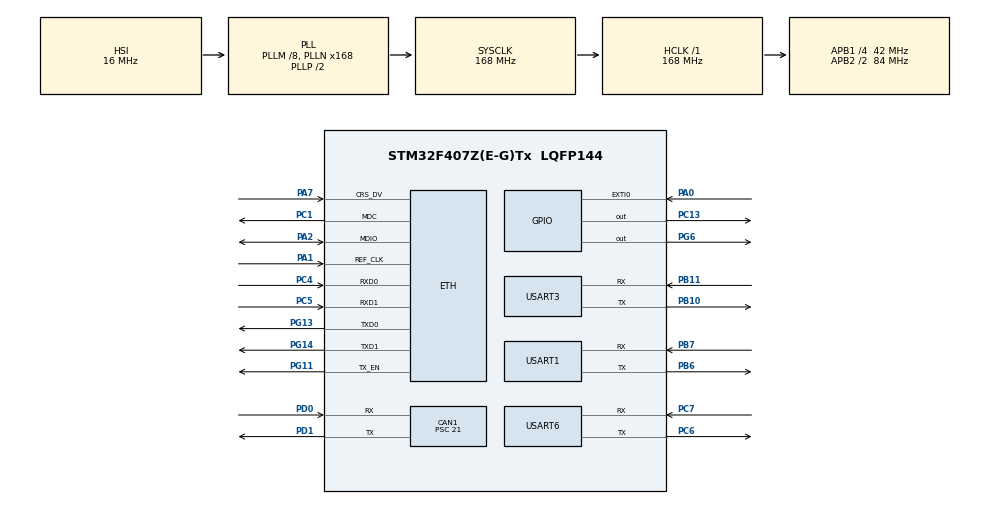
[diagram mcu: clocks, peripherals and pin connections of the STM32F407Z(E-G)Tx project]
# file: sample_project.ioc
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Mcu.Family=STM32F4
NVIC.USART3_IRQn=true\:5\:0\:false\:false\:true\:true\:true\:true
PA2.GPIO_PuPd=GPIO_PULLUP
PH0-OSC_IN.Signal=RCC_OSC_IN
Dma.USART3_RX.0.PeriphInc=DMA_PINC_DISABLE
RCC.CortexFreq_Value=168000000
PG6.Signal=GPIO_Output
PB10.Mode=Asynchronous
Dma.USART3_TX.1.MemInc=DMA_MINC_ENABLE
LWIP.LWIP_SO_RCVTIMEO=1
Dma.USART3_TX.1.PeriphDataAlignment=DMA_PDATAALIGN_BYTE
Dma.USART3_TX.1.Instance=DMA1_Stream3
PC5.Mode=RMII
PB11.Signal=USART3_RX
PG13.Signal=ETH_TXD0
PG11.Signal=ETH_TX_EN
RCC.SYSCLKSource=RCC_SYSCLKSOURCE_PLLCLK
ProjectManager.StackSize=0x400
VP_FREERTOS_VS_CMSIS_V2.Mode=CMSIS_V2
LWIP.NETMASK_ADDRESS=255.255.255.000
Mcu.UserConstants=configUSE_POSIX_ERRNO,1;INCLUDE_xTaskGetHandle,1
PG11.GPIO_PuPd=GPIO_PULLUP
RCC.HCLKFreq_Value=168000000
RCC.APB2TimFreq_Value=168000000
PB6.Signal=USART1_TX
PC7.Signal=USART6_RX
PB6.Mode=Asynchronous
PD0.Signal=CAN1_RX
PA1.GPIO_PuPd=GPIO_PULLUP
RCC.AHBFreq_Value=168000000
PH0-OSC_IN.Mode=HSE-External-Oscillator
NVIC.ETH_IRQn=true\:5\:0\:false\:false\:true\:true\:false\:true
LWIP.MEMP_NUM_SYS_TIMEOUT=6
RCC.HSE_VALUE=12000000
Dma.USART3_RX.0.MemDataAlignment=DMA_MDATAALIGN_BYTE
PB3.Mode=Trace_Asynchronous_SW
Dma.USART3_TX.1.Mode=DMA_NORMAL
PC1.GPIO_PuPd=GPIO_PULLUP
PC13-ANTI_TAMP.Signal=GPIO_Output
PG13.GPIO_PuPd=GPIO_PULLUP
PG14.Mode=RMII
PA14.Mode=Trace_Asynchronous_SW
LWIP.LWIP_SO_SNDTIMEO=1
VP_SYS_VS_tim1.Mode=TIM1
Dma.USART3_RX.0.PeriphDataAlignment=DMA_PDATAALIGN_BYTE
ETH.RxMode=ETH_RXINTERRUPT_MODE
PB7.Signal=USART1_RX
Dma.USART3_RX.0.FIFOMode=DMA_FIFOMODE_DISABLE
PG13.Mode=RMII
FREERTOS.configTOTAL_HEAP_SIZE=50000
Dma.USART3_TX.1.FIFOMode=DMA_FIFOMODE_DISABLE
Dma.USART3_TX.1.Priority=DMA_PRIORITY_MEDIUM
PH1-OSC_OUT.Mode=HSE-External-Oscillator
CAN1.Prescaler=21
Dma.USART3_RX.0.Direction=DMA_PERIPH_TO_MEMORY
Mcu.Package=LQFP144
NVIC.TimeBase=TIM1_UP_TIM10_IRQn
USART6.VirtualMode=VM_ASYNC
NVIC.TimeBaseIP=TIM1
Dma.USART3_RX.0.MemInc=DMA_MINC_ENABLE
RCC.APB2CLKDivider=RCC_HCLK_DIV2
Dma.Request1=USART3_TX
RCC.APB1TimFreq_Value=84000000
PC5.Signal=ETH_RXD1
Dma.USART3_TX.1.PeriphInc=DMA_PINC_DISABLE
Dma.Request0=USART3_RX
PC4.Mode=RMII
LWIP.IP_ADDRESS=192.168.001.123
CAN1.CalculateTimeQuantum=500.0
Dma.USART3_RX.0.Instance=DMA1_Stream1
Dma.USART3_TX.1.MemDataAlignment=DMA_MDATAALIGN_BYTE
FREERTOS.Tasks01=initTask,23,1500,initTaskFunction,Default,NULL,Dynamic,NULL,NULL
PA7.Mode=RMII
PC4.GPIO_PuPd=GPIO_PULLUP
FREERTOS.INCLUDE_xTaskGetCurrentTaskHandle=0
PC4.Signal=ETH_RXD0
PC6.Signal=USART6_TX
PD1.Signal=CAN1_TX
LWIP.LWIP_DHCP=1
NVIC.DMA1_Stream1_IRQn=true\:5\:0\:false\:false\:true\:true\:false\:true
RCC.APB1CLKDivider=RCC_HCLK_DIV4
PC5.GPIO_PuPd=GPIO_PULLUP
ETH.PhyAddress=0
Dma.USART3_RX.0.Mode=DMA_CIRCULAR
PA0-WKUP.Signal=GPXTI0
VP_LWIP_VS_Enabled.Mode=Enabled
LWIP.GATEWAY_ADDRESS=192.168.001.001
LWIP.LWIP_DNS=1
PA13.Signal=SYS_JTMS-SWDIO
CAN1.BS2=CAN_BS2_2TQ
PB11.Mode=Asynchronous
CAN1.BS1=CAN_BS1_13TQ
ProjectManager.TargetToolchain=Makefile
PC6.Mode=Asynchronous
RCC.LSE_VALUE=32768
PA1.Signal=ETH_REF_CLK
PA7.GPIO_PuPd=GPIO_PULLUP
PB10.Signal=USART3_TX
PG14.Signal=ETH_TXD1
board=custom
RCC.VCOOutputFreq_Value=336000000
PD1.Mode=Master
RCC.APB2Freq_Value=84000000
PA1.Mode=RMII
PH1-OSC_OUT.Signal=RCC_OSC_OUT
PG14.GPIO_PuPd=GPIO_PULLUP
PA13.Mode=Trace_Asynchronous_SW
Mcu.Name=STM32F407Z(E-G)Tx
PD0.Mode=Master
PA2.Signal=ETH_MDIO
RCC.48MHZClocksFreq_Value=84000000
PB3.Signal=SYS_JTDO-SWO
NVIC.EXTI0_IRQn=true\:2\:0\:true\:false\:true\:false\:true\:true
RCC.SYSCLKFreq_VALUE=168000000
Dma.USART3_RX.0.Priority=DMA_PRIORITY_VERY_HIGH
ETH.MediaInterface=ETH_MEDIA_INTERFACE_RMII
USART3.VirtualMode=VM_ASYNC
USART1.VirtualMode=VM_ASYNC
PG11.Mode=RMII
PB7.Mode=Asynchronous
PA14.Signal=SYS_JTCK-SWCLK
ProjectManager.HeapSize=0x200
LWIP.Version=v2.0.3_Cube
NVIC.TIM1_UP_TIM10_IRQn=true\:0\:0\:false\:false\:true\:false\:false\:true
RCC.HSI_VALUE=16000000
NVIC.PriorityGroup=NVIC_PRIORITYGROUP_4
Dma.USART3_TX.1.Direction=DMA_MEMORY_TO_PERIPH
RCC.PLLM=8
RCC.PLLN=168
PA2.Mode=RMII
NVIC.DMA1_Stream3_IRQn=true\:5\:0\:false\:false\:true\:true\:false\:true
PC7.Mode=Asynchronous
RCC.APB1Freq_Value=42000000
PC1.Signal=ETH_MDC
NVIC.CAN1_RX0_IRQn=true\:1\:0\:true\:false\:true\:true\:true\:true
PC1.Mode=RMII
PA7.Signal=ETH_CRS_DV

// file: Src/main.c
/* USER CODE BEGIN Header */
/**
  ******************************************************************************
  * @file           : main.c
  * @brief          : Main program body
  ******************************************************************************
  * @attention
  *
  * <h2><center>&copy; Copyright (c) 2020 STMicroelectronics.
  * All rights reserved.</center></h2>
  *
  * This software component is licensed by ST under Ultimate Liberty license
  * SLA0044, the "License"; You may not use this file except in compliance with
  * the License. You may obtain a copy of the License at:
  *                             www.st.com/SLA0044
  *
  ******************************************************************************
  */
/* USER CODE END Header */

#include "main.h"
#include "cmsis_os.h"
#include "lwip.h"

/* USER CODE BEGIN Includes */
#include "FreeRTOS.h"
#include "task.h"
#include "app.h"
#include "common.h"
#include "CAN_utils.h"
#include "circularByteBuffer.h"
#include "retarget.h"

/* USER CODE END Includes */

/* USER CODE BEGIN PTD */
//#define		USART3_PRINTF
#define 	RTOS_MODE
//#define 	CAN1_LOOPBACK_MODE
//#define     CAN1_TX_ONLY
//#define     CAN1_RX_ONLY
#define 	CAN1_ENABLE

#define		DISABLE_CAN1_TX_PENDING_WAIT

void ISR_Error_Handler(void);
#ifdef CAN1_ENABLE
void CAN1_RX_Config(void);
void CAN1_TX_Config(void);

void ms_delay(uint32_t delay);
void CAN1_RX_polling(void);
//void CAN1_TX(void);
//void cb_read_CAN_frame(circularByteBuffer_t *cb);
#endif
/* USER CODE END PTD */

/* USER CODE BEGIN PD */
/* Private function prototypes -----------------------------------------------*/

/* USER CODE END PD */

/* USER CODE BEGIN PM */

bool can1_ready = RESET;
int count = 0;
uint8_t can1_buf[8] = {0xA1,0xA2,0xA3,0xA4,0xA5,0xA6,0xA7,0xA8};

/* USER CODE END PM */

CAN_HandleTypeDef hcan1;

UART_HandleTypeDef huart1;
UART_HandleTypeDef huart3;
UART_HandleTypeDef huart6;
DMA_HandleTypeDef hdma_usart3_rx;
DMA_HandleTypeDef hdma_usart3_tx;

/* Definitions for initTask */
osThreadId_t initTaskHandle;
const osThreadAttr_t initTask_attributes = {
  .name = "initTask",
  .priority = (osPriority_t) osPriorityBelowNormal7,
  .stack_size = 1500
};
/* USER CODE BEGIN PV */
#ifdef CAN1_ENABLE
CAN_TxHeaderTypeDef txHeader; //declare a specific header for message transmittions
CAN_RxHeaderTypeDef rxHeader; //declare header for message reception
uint32_t TxMailbox, len;
uint8_t a,r, arr[12]; //declare byte to be transmitted //declare a receive byte

CAN_FilterTypeDef sFilterConfig; //declare CAN filter structure
circularByteBuffer_t cb_han;

#endif
/* USER CODE END PV */

void SystemClock_Config(void);
static void MX_GPIO_Init(void);
static void MX_DMA_Init(void);
static void MX_USART3_UART_Init(void);
static void MX_USART1_UART_Init(void);
static void MX_USART6_UART_Init(void);
static void MX_CAN1_Init(void);
void initTaskFunction(void *argument);

/* USER CODE BEGIN PFP */
extern struct netif gnetif;
/* USER CODE END PFP */

int main(void)
{
  /* USER CODE BEGIN 1 */

  circularByteBuffer_Init(&cb_han);

  /* USER CODE END 1 */

  /* MCU Configuration--------------------------------------------------------*/

  /* Reset of all peripherals, Initializes the Flash interface and the Systick. */
  HAL_Init();

  /* USER CODE BEGIN Init */
  //  printf("HAL_Init() passed\n");
  /* USER CODE END Init */

  /* Configure the system clock */
  SystemClock_Config();

  /* USER CODE BEGIN SysInit */
//  printf("SystemClock_Config() passed\n");
  /* USER CODE END SysInit */

  /* Initialize all configured peripherals */
  MX_GPIO_Init();
  MX_DMA_Init();
  MX_USART3_UART_Init();
  MX_LWIP_Init();
  MX_USART1_UART_Init();
  MX_USART6_UART_Init();

  MX_CAN1_Init();
  /* USER CODE BEGIN 2 */
  RetargetInit(&huart3);  // Assign uart3 for printf() to external ttyUSB* terminal
#ifdef CAN1_ENABLE
  printf("MX_CAN1_Init() passed\n");

  CAN1_TX_Config();
  printf("CAN1_TX_Config() passed\n");

  CAN1_RX_Config();
  printf("CAN1_RX_Config() passed\n");

#endif

#if !defined (CAN1_TX_ONLY) && !defined (CAN1_RX_ONLY)

  /* USER CODE END 2 */

  /* Init scheduler */
  osKernelInitialize();

  /* Create the thread(s) */
  /* creation of initTask */
  initTaskHandle = osThreadNew(initTaskFunction, NULL, &initTask_attributes);

  /* Start scheduler */
  osKernelStart();

  /* We should never get here as control is now taken by the scheduler */

  /* Infinite loop */
  /* USER CODE BEGIN WHILE */
#endif

  while (1)
  {

#if defined (CAN1_LOOPBACK_MODE)
	  CAN1_TX(can1_buf, 8);
	  printf("loop %d\n\r", ++count);  //test the SWV, but no luck

    /* USER CODE END WHILE */

    /* USER CODE BEGIN 3 */
	  HAL_Delay(1000);

	  //CAN1_RX_polling();

	  //Read back from the circular buffer
	  len = cb_read_CAN_frame(arr);
#endif
	  HAL_Delay(50);

  }
  /* USER CODE END 3 */
}

void SystemClock_Config(void)
{
  RCC_OscInitTypeDef RCC_OscInitStruct = {0};
  RCC_ClkInitTypeDef RCC_ClkInitStruct = {0};

  /** Configure the main internal regulator output voltage
  */
  __HAL_RCC_PWR_CLK_ENABLE();
  __HAL_PWR_VOLTAGESCALING_CONFIG(PWR_REGULATOR_VOLTAGE_SCALE1);
  /** Initializes the CPU, AHB and APB busses clocks
  */
  RCC_OscInitStruct.OscillatorType = RCC_OSCILLATORTYPE_HSI;
  RCC_OscInitStruct.HSIState = RCC_HSI_ON;
  RCC_OscInitStruct.HSICalibrationValue = RCC_HSICALIBRATION_DEFAULT;
  RCC_OscInitStruct.PLL.PLLState = RCC_PLL_ON;
  RCC_OscInitStruct.PLL.PLLSource = RCC_PLLSOURCE_HSI;
  RCC_OscInitStruct.PLL.PLLM = 8;
  RCC_OscInitStruct.PLL.PLLN = 168;
  RCC_OscInitStruct.PLL.PLLP = RCC_PLLP_DIV2;
  RCC_OscInitStruct.PLL.PLLQ = 4;
  if (HAL_RCC_OscConfig(&RCC_OscInitStruct) != HAL_OK)
  {
    Error_Handler();
  }
  /** Initializes the CPU, AHB and APB busses clocks
  */
  RCC_ClkInitStruct.ClockType = RCC_CLOCKTYPE_HCLK|RCC_CLOCKTYPE_SYSCLK
                              |RCC_CLOCKTYPE_PCLK1|RCC_CLOCKTYPE_PCLK2;
  RCC_ClkInitStruct.SYSCLKSource = RCC_SYSCLKSOURCE_PLLCLK;
  RCC_ClkInitStruct.AHBCLKDivider = RCC_SYSCLK_DIV1;
  RCC_ClkInitStruct.APB1CLKDivider = RCC_HCLK_DIV4;
  RCC_ClkInitStruct.APB2CLKDivider = RCC_HCLK_DIV2;

  if (HAL_RCC_ClockConfig(&RCC_ClkInitStruct, FLASH_LATENCY_5) != HAL_OK)
  {
    Error_Handler();
  }
}

static void MX_CAN1_Init(void)
{

  /* USER CODE BEGIN CAN1_Init 1 */

	/* PCLK2 = 168MHz / 4 = 42MHz
	* Prescaler = 12;
	* TimeSeg1 = CAN_BS1_11TQ;
	* TimeSeg2 = CAN_BS2_2TQ;
	* to create 250Kb/s CAN bitrate
	*/
  /* USER CODE END CAN1_Init 1 */
  hcan1.Instance = CAN1;
  hcan1.Init.Prescaler = 12;
#if defined (CAN1_LOOPBACK_MODE)
  hcan1.Init.Mode = CAN_MODE_LOOPBACK;
#else
  hcan1.Init.Mode = CAN_MODE_NORMAL;
#endif
  hcan1.Init.SyncJumpWidth = CAN_SJW_1TQ;
  hcan1.Init.TimeSeg1 = CAN_BS1_11TQ;
  hcan1.Init.TimeSeg2 = CAN_BS2_2TQ;
  hcan1.Init.TimeTriggeredMode = DISABLE;
  hcan1.Init.AutoBusOff = DISABLE;
  hcan1.Init.AutoWakeUp = DISABLE;
  hcan1.Init.AutoRetransmission = DISABLE;
  hcan1.Init.ReceiveFifoLocked = DISABLE;
  hcan1.Init.TransmitFifoPriority = DISABLE;
  if (HAL_CAN_Init(&hcan1) != HAL_OK)
  {
    Error_Handler();
  }
  /* USER CODE BEGIN CAN1_Init 2 */
  can1_ready = SET;
  /* USER CODE END CAN1_Init 2 */

}

static void MX_USART1_UART_Init(void)
{

  huart1.Instance = USART1;
  huart1.Init.BaudRate = 115200;
  huart1.Init.WordLength = UART_WORDLENGTH_8B;
  huart1.Init.StopBits = UART_STOPBITS_1;
  huart1.Init.Parity = UART_PARITY_NONE;
  huart1.Init.Mode = UART_MODE_TX_RX;
  huart1.Init.HwFlowCtl = UART_HWCONTROL_NONE;
  huart1.Init.OverSampling = UART_OVERSAMPLING_16;
  if (HAL_UART_Init(&huart1) != HAL_OK)
  {
    Error_Handler();
  }

}

static void MX_USART3_UART_Init(void)
{

  huart3.Instance = USART3;
  huart3.Init.BaudRate = 115200;
  huart3.Init.WordLength = UART_WORDLENGTH_8B;
  huart3.Init.StopBits = UART_STOPBITS_1;
  huart3.Init.Parity = UART_PARITY_NONE;
  huart3.Init.Mode = UART_MODE_TX_RX;
  huart3.Init.HwFlowCtl = UART_HWCONTROL_NONE;
  huart3.Init.OverSampling = UART_OVERSAMPLING_16;
  if (HAL_UART_Init(&huart3) != HAL_OK)
  {
    Error_Handler();
  }
  /* USER CODE BEGIN USART3_Init 2 */
  /* Output a message on Hyperterminal using printf function */
    printf("\n\r UART3 init passed\n\r");
  /* USER CODE END USART3_Init 2 */

}

static void MX_USART6_UART_Init(void)
{

  huart6.Instance = USART6;
  huart6.Init.BaudRate = 115200;
  huart6.Init.WordLength = UART_WORDLENGTH_8B;
  huart6.Init.StopBits = UART_STOPBITS_1;
  huart6.Init.Parity = UART_PARITY_NONE;
  huart6.Init.Mode = UART_MODE_TX_RX;
  huart6.Init.HwFlowCtl = UART_HWCONTROL_NONE;
  huart6.Init.OverSampling = UART_OVERSAMPLING_16;
  if (HAL_UART_Init(&huart6) != HAL_OK)
  {
    Error_Handler();
  }
  /* USER CODE BEGIN USART6_Init 2 */
  printf("\n\r UART6 init passed\n\r");
  /* USER CODE END USART6_Init 2 */

}

static void MX_DMA_Init(void)
{

  /* DMA controller clock enable */
  __HAL_RCC_DMA1_CLK_ENABLE();

  /* DMA interrupt init */
  /* DMA1_Stream1_IRQn interrupt configuration */
  HAL_NVIC_SetPriority(DMA1_Stream1_IRQn, 5, 0);
  HAL_NVIC_EnableIRQ(DMA1_Stream1_IRQn);
  /* DMA1_Stream3_IRQn interrupt configuration */
  HAL_NVIC_SetPriority(DMA1_Stream3_IRQn, 5, 0);
  HAL_NVIC_EnableIRQ(DMA1_Stream3_IRQn);

}

static void MX_GPIO_Init(void)
{
  GPIO_InitTypeDef GPIO_InitStruct = {0};

  /* GPIO Ports Clock Enable */
  __HAL_RCC_GPIOC_CLK_ENABLE();
  __HAL_RCC_GPIOH_CLK_ENABLE();
  __HAL_RCC_GPIOA_CLK_ENABLE();
  __HAL_RCC_GPIOB_CLK_ENABLE();
  __HAL_RCC_GPIOG_CLK_ENABLE();

  /*Configure GPIO pin Output Level */
  HAL_GPIO_WritePin(GPIOC, GPIO_PIN_13, GPIO_PIN_RESET);

  /*Configure GPIO pin Output Level */
  HAL_GPIO_WritePin(GPIOG, GPIO_PIN_6, GPIO_PIN_RESET);

  /*Configure GPIO pin : PC13 */
  GPIO_InitStruct.Pin = GPIO_PIN_13;
  GPIO_InitStruct.Mode = GPIO_MODE_OUTPUT_PP;
  GPIO_InitStruct.Pull = GPIO_NOPULL;
  GPIO_InitStruct.Speed = GPIO_SPEED_FREQ_LOW;
  HAL_GPIO_Init(GPIOC, &GPIO_InitStruct);

  /*Configure GPIO pin : PA0 */
  GPIO_InitStruct.Pin = GPIO_PIN_0;
  GPIO_InitStruct.Mode = GPIO_MODE_IT_RISING;
  GPIO_InitStruct.Pull = GPIO_NOPULL;
  HAL_GPIO_Init(GPIOA, &GPIO_InitStruct);

  /*Configure GPIO pin : PG6 */
  GPIO_InitStruct.Pin = GPIO_PIN_6;
  GPIO_InitStruct.Mode = GPIO_MODE_OUTPUT_PP;
  GPIO_InitStruct.Pull = GPIO_NOPULL;
  GPIO_InitStruct.Speed = GPIO_SPEED_FREQ_LOW;
  HAL_GPIO_Init(GPIOG, &GPIO_InitStruct);

  /* EXTI interrupt init*/
  HAL_NVIC_SetPriority(EXTI0_IRQn, 2, 0);
  HAL_NVIC_EnableIRQ(EXTI0_IRQn);

}

/* USER CODE BEGIN 4 */
#ifdef CAN1_ENABLE

void CAN1_TX_Config(void)
{
	txHeader.DLC=8;  			// give message size of 8 byte FOR NOW
	txHeader.IDE=CAN_ID_STD; 	//set identifier to standard
	txHeader.RTR=CAN_RTR_DATA; 	//set data type to remote transmission request?
	txHeader.StdId=0x123; 		//define a standard identifier, used for message identification by filters (switch this for the other microcontroller)

	txHeader.ExtId = 0x00;
	txHeader.TransmitGlobalTime = DISABLE;
	printf("\n\rCAN1_TX_Config() Passed \n\r");

}

void CAN1_RX_polling(void)
{
	uint8_t rxData[8];

//	while (HAL_CAN_GetRxFifoFillLevel(&hcan1,CAN_RX_FIFO0) != HAL_OK);
//	printf("HAL_CAN_GetRxFifoFillLevel() Passed \n");

	if (HAL_CAN_GetRxMessage(&hcan1,CAN_RX_FIFO0, &rxHeader, rxData) != HAL_OK) {
		printf("\n\rHAL_CAN_GetRxMessage() Failed \n\r");
			Error_Handler();

	}

	 printf("\n\rHAL_CAN_GetRxMessage() Passed %s\n\r", rxData);

	if ((rxHeader.IDE == CAN_ID_STD) && (rxHeader.StdId == 0x321) && (rxHeader.DLC == 4))
	{
		printf("\n\rRdDataLength %d , RxData 0x%x\n\r", (int)(rxHeader.DLC>> 16), (unsigned int)rxData[0]);
	}

}

void CAN1_RX_Config(void)
{
		//filter one (stack light blink)
	sFilterConfig.FilterBank = 0;
	sFilterConfig.FilterFIFOAssignment=CAN_FILTER_FIFO0; //set fifo assignment
	sFilterConfig.FilterIdHigh=0x0;      //245<<5; //the ID that the filter looks for (switch this for the other microcontroller)
	sFilterConfig.FilterIdLow=0x0;
	sFilterConfig.FilterMaskIdHigh=0x0;
	sFilterConfig.FilterMaskIdLow=0x0;
	sFilterConfig.FilterScale=CAN_FILTERSCALE_32BIT; //set filter scale
	sFilterConfig.FilterMode = CAN_FILTERMODE_IDMASK;
	sFilterConfig.FilterActivation=ENABLE;

	if (HAL_CAN_ConfigFilter(&hcan1, &sFilterConfig) != HAL_OK) //configure CAN filter
	{
		printf("\n\rHAL_CAN_ConfigFilter() failed \n\r");
		 Error_Handler();
	}
	printf("\n\rHAL_CAN_ConfigFilter() passed \n\r");

	HAL_CAN_Start(&hcan1); //start CAN
	printf("HAL_CAN_Start() passed \n\r");

	HAL_CAN_ActivateNotification(&hcan1, CAN_IT_RX_FIFO0_MSG_PENDING); //enable interrupts
	printf("\n\rHAL_CAN_ActivateNotification() passed \n\r");
}

void HAL_CAN_RxFifo0MsgPendingCallback(CAN_HandleTypeDef *hcan)
{
	CAN_RxHeaderTypeDef rxHeader;
	uint8_t rcvd_msg[8];
	uint8_t arr_val [4];
	int i = 0;

	HAL_CAN_ActivateNotification(&hcan1,CAN_IT_RX_FIFO0_MSG_PENDING);
	printf("\n\rHAL_CAN_RxFifo0MsgPendingCallback() entered \n\r");
	if (HAL_CAN_GetRxMessage(&hcan1, CAN_RX_FIFO0, &rxHeader,rcvd_msg) != HAL_OK)
	{
		printf("\n\rHAL_CAN_RxFifo Callback - HAL_CAN_GetRxMessage() Failed\n\r");
		ISR_Error_Handler();
	}

	if ((rxHeader.IDE == CAN_ID_STD)) // && (rxHeader.StdId == 0x321))
	{
		//printf("\n\rID = 0x%x RdDataLength %d , RxData 0x%x\n\r", (int)(rxHeader.DLC), (unsigned int)rcvd_msg[0]);
		printf("\n\r ID = 0x%x RdDataLength %d \n\r", (int)rxHeader.StdId, (int)(rxHeader.DLC));
		/* print received data */
		for (i=0; i< rxHeader.DLC; i++)
		{
			printf("Data[%d]=0x%x ", i, (int)rcvd_msg[i]);
		}

		printf("\n\r");
	}

	/*
	 * Store the CAN frame in this structure only
	 * i.e., | rxHeader.StdId (4 bytes) | rxHeader.DLC (4 bytes) | data (4 bytes) |
	 *
	 * Note: the term "element" depicts data type of uint32_t
	 */

	EnqueueFrame(rxHeader.StdId, rxHeader.DLC, rcvd_msg);

#if 0
	/* convert rxHeader.StdId to bytes */
	circularByteBuffer_Int2Bytes(rxHeader.StdId, arr_val);
	printf("\n\rEnqueue ID %x \n\r", (int)(rxHeader.DLC));
	/* Store rxHeader.StdId, i.e, arr_val in the circular buffer */
	circularByteBuffer_element_Enqueue(&cb_han, arr_val);

	/* convert rxHeader.DCL to bytes */
	circularByteBuffer_Int2Bytes(rxHeader.DLC, arr_val);
	printf("\n\rEnqueue RdDataLength %x \n\r", (int)(rxHeader.DLC));
	/* Store rxHeader.DCL in arr_val into the circular buffer */
	circularByteBuffer_element_Enqueue(&cb_han, arr_val);

	/*
	 *  It is for not fixed at 4 bytes for sending, hence receiving 4 bytes
	 */
	/* Store in the circular buffer */
	for (i=0; i< rxHeader.DLC; i++) {
		circularByteBuffer_Enqueue(&cb_han, (uint8_t)rcvd_msg[i]);
	}

#endif
	HAL_GPIO_TogglePin(LED_GPIO_Port, LED_Pin);

}

/*
 * This is routine being use by the transport layer reading the frame contents. However, it can be used here for
 * confirming the operationg the routine. Test it in the main() while after receiving a frame from the RxFifo0 CALLBACK routine
 *
 */

void HAL_GPIO_EXTI_Callback(uint16_t GPIO_Pin)
{
	printf("HAL_GPIO_EXTI_Callback() entered \n\r");
	if(GPIO_Pin == WK_Button_Pin)   //WK_Button_GPIO_Port WK_Button_Pin
	{
		printf("\n\rWK_Button_Pin pressed entered \n\r");

		//HAL_GPIO_TogglePin(LED_GPIO_Port, LED_Pin);
		//CAN1_TX();
	}

}

#endif
/* USER CODE END 4 */

void initTaskFunction(void *argument)
{
  /* USER CODE BEGIN 5 */
	int count = 0;
	uint32_t id, length = 0;
#if defined (CAN1_ENABLE)

	printf("\n\rCAN1-bus %d - 1=Ready, 0=Off-line \r\n", can1_ready);

	// Launch app thread when IP configured

	osThreadAttr_t attributes;
    memset(&attributes, 0x0, sizeof(osThreadAttr_t));
	attributes.name = "microxrceddsapp";
	attributes.stack_size = 4*3000;
    attributes.priority = (osPriority_t) osPriorityNormal1;
	osThreadNew(appMain, NULL, &attributes);

	TaskHandle_t xHandle;
	xHandle = xTaskGetHandle("microxrceddsapp");

	while (1) {
		printf("\n\r Count %d", count++);

		if (eTaskGetState(xHandle) != eSuspended){
			HAL_GPIO_WritePin(GPIOC, GPIO_PIN_13, GPIO_PIN_RESET);
			osDelay(100);
			HAL_GPIO_WritePin(GPIOC, GPIO_PIN_13, GPIO_PIN_SET);
			osDelay(100);
			HAL_GPIO_WritePin(GPIOC, GPIO_PIN_13, GPIO_PIN_RESET);
			osDelay(150);
			HAL_GPIO_WritePin(GPIOC, GPIO_PIN_13, GPIO_PIN_SET);
				       osDelay(500);
			}
		else{
			HAL_GPIO_WritePin(GPIOC, GPIO_PIN_13, GPIO_PIN_RESET);
			osDelay(1000);
			HAL_GPIO_WritePin(GPIOC, GPIO_PIN_13, GPIO_PIN_SET);
			osDelay(1000);
		}

#if defined (CAN1_LOOPBACK_MODE)
		  //HAL_GPIO_TogglePin(LED_GPIO_Port, LED_Pin);
		 int32_t len;
		 uint8_t arr[12];
		 CAN1_TX(can1_buf, 8);
		  printf("\n\rloop %d\n\r", ++count);  //test the SWV, but no luck

		  HAL_GPIO_TogglePin(LED_GPIO_Port, LED_Pin);
	    /* USER CODE END WHILE */

	    /* USER CODE BEGIN 3 */
		  HAL_Delay(500);

		  //CAN1_RX_polling();

		  //Read back from the circular buffer
		  len = cb_read_CAN_frame(arr);
#endif
		  //Read back from the circular buffer
		  // len = cb_read_CAN_frame(arr);
		   len = cb_read_CAN_frame(arr, &id, &length);
	}

#else
	HAL_GPIO_WritePin(GPIOG, GPIO_PIN_6, GPIO_PIN_SET);
	uint8_t availableNetwork = 0;

	printf("\n\rEthernet Initialization\r\n");

	//Waiting for an IP
	printf("Waiting for IP\r\n");
	int retries = 0;

	while(gnetif.ip_addr.addr == 0 && retries < 30){
		osDelay(500);
		retries++;
	};

	availableNetwork = (gnetif.ip_addr.addr != 0) ? 1 : 0;
	if (availableNetwork != 0){
		printf("\n\rIP: %s\r\n",ip4addr_ntoa(&gnetif.ip_addr));
	}
	else{
		printf("\n\rImpossible to retrieve an IP\n\r");
	}

  // Launch app thread when IP configured

  osThreadAttr_t attributes;
  memset(&attributes, 0x0, sizeof(osThreadAttr_t));
  attributes.name = "microxrceddsapp";
  attributes.stack_size = 4*3000;
  attributes.priority = (osPriority_t) osPriorityNormal1;
  osThreadNew(appMain, NULL, &attributes);

  TaskHandle_t xHandle;
  xHandle = xTaskGetHandle("microxrceddsapp");

  while (1){
    availableNetwork = (gnetif.ip_addr.addr != 0) ? 1 : 0;
    if (eTaskGetState(xHandle) != eSuspended && availableNetwork != 0){
      HAL_GPIO_WritePin(GPIOC, GPIO_PIN_13, GPIO_PIN_RESET);
      osDelay(100);
      HAL_GPIO_WritePin(GPIOC, GPIO_PIN_13, GPIO_PIN_SET);
      osDelay(100);
      HAL_GPIO_WritePin(GPIOC, GPIO_PIN_13, GPIO_PIN_RESET);
      osDelay(150);
      HAL_GPIO_WritePin(GPIOC, GPIO_PIN_13, GPIO_PIN_SET);
      osDelay(500);
    }else{
      HAL_GPIO_WritePin(GPIOC, GPIO_PIN_13, GPIO_PIN_RESET);
      osDelay(1000);
      HAL_GPIO_WritePin(GPIOC, GPIO_PIN_13, GPIO_PIN_SET);
      osDelay(1000);
    }
  }

#endif

  /* USER CODE END 5 */
}

void HAL_TIM_PeriodElapsedCallback(TIM_HandleTypeDef *htim)
{
  if (htim->Instance == TIM1) {
    HAL_IncTick();
  }
}

void Error_Handler(void)
{
  /* USER CODE BEGIN Error_Handler_Debug */
  /* User can add his own implementation to report the HAL error return state */
	while (1) {
		HAL_GPIO_TogglePin(LED_GPIO_Port, LED_Pin);
		HAL_Delay (30);
		HAL_GPIO_TogglePin(LED_GPIO_Port, LED_Pin);
		HAL_Delay (100);
	  }
}

void ISR_Error_Handler(void)
{
  /* USER CODE BEGIN Error_Handler_Debug */
  /* User can add his own implementation to report the HAL error return state */
  while (1) {
	  /*            @arg GPIO_PIN_RESET: to clear the port pin
	  *            @arg GPIO_PIN_SET: to set the port pin
	  */
	HAL_GPIO_WritePin(LED_GPIO_Port, LED_Pin, GPIO_PIN_SET);
  }
  /* USER CODE END Error_Handler_Debug */
}

/************************ (C) COPYRIGHT STMicroelectronics *****END OF FILE****/
